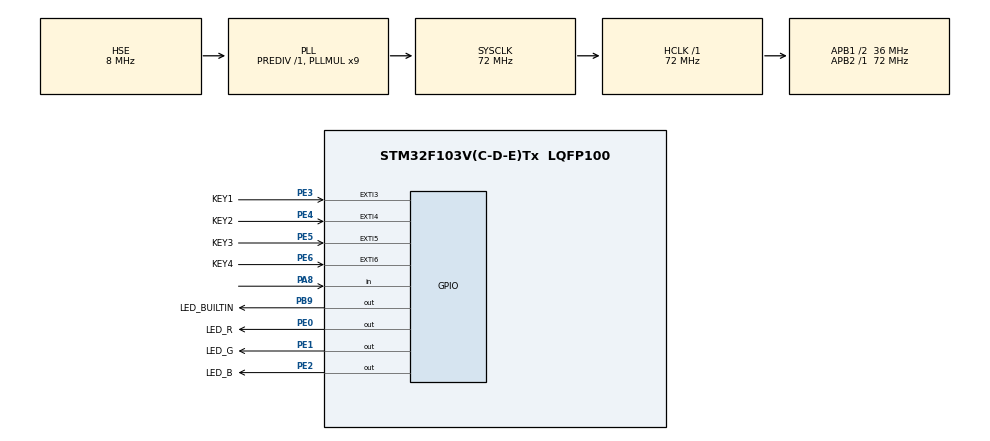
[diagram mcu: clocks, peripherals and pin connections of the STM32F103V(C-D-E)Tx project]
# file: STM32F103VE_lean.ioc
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Mcu.Family=STM32F1
Mcu.Name=STM32F103V(C-D-E)Tx
Mcu.Package=LQFP100
NVIC.PriorityGroup=NVIC_PRIORITYGROUP_4
NVIC.RCC_IRQn=true\:0\:0\:false\:false\:true
OSC_IN.Mode=HSE-External-Oscillator
OSC_IN.Signal=RCC_OSC_IN
OSC_OUT.Mode=HSE-External-Oscillator
OSC_OUT.Signal=RCC_OSC_OUT
PA13.Mode=Serial_Wire
PA13.Signal=SYS_JTMS-SWDIO
PA14.Mode=Serial_Wire
PA14.Signal=SYS_JTCK-SWCLK
PA8.Signal=GPIO_Input
PB9.GPIO_Label=LED_BUILTIN
PB9.GPIO_Speed=GPIO_SPEED_FREQ_MEDIUM
PB9.Signal=GPIO_Output
PC14-OSC32_IN.Mode=LSE-External-Oscillator
PC14-OSC32_IN.Signal=RCC_OSC32_IN
PC15-OSC32_OUT.Mode=LSE-External-Oscillator
PC15-OSC32_OUT.Signal=RCC_OSC32_OUT
PE0.GPIO_Label=LED_R
PE0.GPIO_Speed=GPIO_SPEED_FREQ_MEDIUM
PE0.Signal=GPIO_Output
PE1.GPIO_Label=LED_G
PE1.GPIO_Speed=GPIO_SPEED_FREQ_MEDIUM
PE1.Signal=GPIO_Output
PE2.GPIO_Label=LED_B
PE2.GPIO_Speed=GPIO_SPEED_FREQ_MEDIUM
PE2.Signal=GPIO_Output
PE3.GPIO_Label=KEY1
PE3.GPIO_ModeDefaultEXTI=GPIO_MODE_IT_FALLING
PE3.GPIO_PuPd=GPIO_PULLUP
PE3.Signal=GPXTI3
PE4.GPIO_Label=KEY2
PE4.GPIO_ModeDefaultEXTI=GPIO_MODE_IT_FALLING
PE4.GPIO_PuPd=GPIO_PULLUP
PE4.Signal=GPXTI4
PE5.GPIO_Label=KEY3
PE5.GPIO_ModeDefaultEXTI=GPIO_MODE_IT_FALLING
PE5.GPIO_PuPd=GPIO_PULLUP
PE5.Signal=GPXTI5
PE6.GPIO_Label=KEY4
PE6.GPIO_ModeDefaultEXTI=GPIO_MODE_IT_FALLING
PE6.GPIO_PuPd=GPIO_PULLUP
PE6.Signal=GPXTI6
ProjectManager.HeapSize=0x200
ProjectManager.StackSize=0x400
ProjectManager.TargetToolchain=EWARM
RCC.ADCPresc=RCC_ADCPCLK2_DIV6
RCC.AHBFreq_Value=72000000
RCC.APB1CLKDivider=RCC_HCLK_DIV2
RCC.APB1Freq_Value=36000000
RCC.APB1TimFreq_Value=72000000
RCC.APB2Freq_Value=72000000
RCC.APB2TimCLKDivider=2
RCC.APB2TimFreq_Value=144000000
RCC.EnbaleCSS=true
RCC.HCLKFreq_Value=72000000
RCC.PLLMUL=RCC_PLL_MUL9
RCC.PLLSourceVirtual=RCC_PLLSOURCE_HSE
RCC.SYSCLKFreq_VALUE=72000000
RCC.SYSCLKSource=RCC_SYSCLKSOURCE_PLLCLK
RCC.USBFreq_Value=48000000
RCC.USBPrescaler=RCC_USBCLKSOURCE_PLL_DIV1_5
board=NUCLEO-F103RB

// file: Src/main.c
/**
  ******************************************************************************
  * File Name          : main.c
  * Description        : Main program body
  ******************************************************************************
  ** This notice applies to any and all portions of this file
  * that are not between comment pairs USER CODE BEGIN and
  * USER CODE END. Other portions of this file, whether
  * inserted by the user or by software development tools
  * are owned by their respective copyright owners.
  *
  * COPYRIGHT(c) 2017 STMicroelectronics
  *
  * Redistribution and use in source and binary forms, with or without modification,
  * are permitted provided that the following conditions are met:
  *   1. Redistributions of source code must retain the above copyright notice,
  *      this list of conditions and the following disclaimer.
  *   2. Redistributions in binary form must reproduce the above copyright notice,
  *      this list of conditions and the following disclaimer in the documentation
  *      and/or other materials provided with the distribution.
  *   3. Neither the name of STMicroelectronics nor the names of its contributors
  *      may be used to endorse or promote products derived from this software
  *      without specific prior written permission.
  *
  * THIS SOFTWARE IS PROVIDED BY THE COPYRIGHT HOLDERS AND CONTRIBUTORS "AS IS"
  * AND ANY EXPRESS OR IMPLIED WARRANTIES, INCLUDING, BUT NOT LIMITED TO, THE
  * IMPLIED WARRANTIES OF MERCHANTABILITY AND FITNESS FOR A PARTICULAR PURPOSE ARE
  * DISCLAIMED. IN NO EVENT SHALL THE COPYRIGHT HOLDER OR CONTRIBUTORS BE LIABLE
  * FOR ANY DIRECT, INDIRECT, INCIDENTAL, SPECIAL, EXEMPLARY, OR CONSEQUENTIAL
  * DAMAGES (INCLUDING, BUT NOT LIMITED TO, PROCUREMENT OF SUBSTITUTE GOODS OR
  * SERVICES; LOSS OF USE, DATA, OR PROFITS; OR BUSINESS INTERRUPTION) HOWEVER
  * CAUSED AND ON ANY THEORY OF LIABILITY, WHETHER IN CONTRACT, STRICT LIABILITY,
  * OR TORT (INCLUDING NEGLIGENCE OR OTHERWISE) ARISING IN ANY WAY OUT OF THE USE
  * OF THIS SOFTWARE, EVEN IF ADVISED OF THE POSSIBILITY OF SUCH DAMAGE.
  *
  ******************************************************************************
  */
#include "main.h"
#include "stm32f1xx_hal.h"
#include "gpio.h"

/* USER CODE BEGIN Includes */
#include "diag/Trace.h"
#include <stdint.h>
/* USER CODE END Includes */

/* USER CODE BEGIN PV */
/* Private variables ---------------------------------------------------------*/

/* USER CODE END PV */

void SystemClock_Config(void);

/* USER CODE BEGIN PFP */
/* Private function prototypes -----------------------------------------------*/
/* USER CODE END PFP */

/* USER CODE BEGIN 0 */
#define LED_R(Op) HAL_GPIO_WritePin(LED_R_GPIO_Port, LED_R_Pin, GPIO_PIN_##Op)
#define LED_G(Op) HAL_GPIO_WritePin(LED_G_GPIO_Port,  LED_G_Pin, GPIO_PIN_##Op)
#define LED_B(Op) HAL_GPIO_WritePin(LED_B_GPIO_Port, LED_B_Pin, GPIO_PIN_##Op)
// Define the values of the identifiers
#define LED_B_isON 0x1
#define LED_G_isON 0x2
#define LED_R_isON 0x4
/* USER CODE END 0 */

int main(void)
{

  /* USER CODE BEGIN 1 */
	// Send a greeting to the trace device (skipped on Release).
	trace_puts("Hello ARM World!");

  /* USER CODE END 1 */

  /* MCU Configuration----------------------------------------------------------*/

  /* Reset of all peripherals, Initializes the Flash interface and the Systick. */
  HAL_Init();

  /* Configure the system clock */
  SystemClock_Config();

  /* Initialize all configured peripherals */
  MX_GPIO_Init();

  /* USER CODE BEGIN 2 */
	LED_R(SET);
	LED_G(SET);
	LED_B(SET);
	HAL_GPIO_WritePin(LED_BUILTIN_GPIO_Port, LED_BUILTIN_Pin, GPIO_PIN_RESET); //ON
	HAL_Delay(300);
	LED_R(RESET);
	LED_G(RESET);
	LED_B(RESET); //OFF
	HAL_GPIO_WritePin(LED_BUILTIN_GPIO_Port, LED_BUILTIN_Pin, GPIO_PIN_SET); //OFF

	uint32_t seconds = 0;
	uint8_t ubKeyNumber = 0;
	uint8_t isOn = 0;

	uint32_t Ticks = HAL_GetTick() + 500;
  /* USER CODE END 2 */

  /* Infinite loop */
  while (1)
  {

  /* USER CODE BEGIN 3 */

		// Count seconds on the trace device.
		if (Ticks <= HAL_GetTick()) {
			Ticks = HAL_GetTick() + 500; //1ms interrupt
			if (isOn) {
				isOn = 0;
				HAL_GPIO_WritePin(LED_BUILTIN_GPIO_Port, LED_BUILTIN_Pin, GPIO_PIN_SET);

			} else {
				isOn = 1;
				HAL_GPIO_WritePin(LED_BUILTIN_GPIO_Port, LED_BUILTIN_Pin, GPIO_PIN_RESET);
				seconds++;
				/* Set the data to be tranmitted */
				ubKeyNumber = ++ubKeyNumber % 8;

			}
			if (ubKeyNumber & LED_B_isON) {
				LED_B(SET);
			} else {
				LED_B(RESET);
			}
			if (ubKeyNumber & LED_G_isON) {
				LED_G(SET);
			} else {
				LED_G(RESET);
			}
			if (ubKeyNumber & LED_R_isON) {
				LED_R(SET);
			} else {
				LED_R(RESET);
			}
		}
	}
  /* USER CODE END 3 */

}

/** System Clock Configuration
*/
void SystemClock_Config(void)
{

  RCC_OscInitTypeDef RCC_OscInitStruct;
  RCC_ClkInitTypeDef RCC_ClkInitStruct;

    /**Initializes the CPU, AHB and APB busses clocks
    */
  RCC_OscInitStruct.OscillatorType = RCC_OSCILLATORTYPE_HSE;
  RCC_OscInitStruct.HSEState = RCC_HSE_ON;
  RCC_OscInitStruct.HSEPredivValue = RCC_HSE_PREDIV_DIV1;
  RCC_OscInitStruct.HSIState = RCC_HSI_ON;
  RCC_OscInitStruct.PLL.PLLState = RCC_PLL_ON;
  RCC_OscInitStruct.PLL.PLLSource = RCC_PLLSOURCE_HSE;
  RCC_OscInitStruct.PLL.PLLMUL = RCC_PLL_MUL9;
  if (HAL_RCC_OscConfig(&RCC_OscInitStruct) != HAL_OK)
  {
    _Error_Handler(__FILE__, __LINE__);
  }

    /**Initializes the CPU, AHB and APB busses clocks
    */
  RCC_ClkInitStruct.ClockType = RCC_CLOCKTYPE_HCLK|RCC_CLOCKTYPE_SYSCLK
                              |RCC_CLOCKTYPE_PCLK1|RCC_CLOCKTYPE_PCLK2;
  RCC_ClkInitStruct.SYSCLKSource = RCC_SYSCLKSOURCE_PLLCLK;
  RCC_ClkInitStruct.AHBCLKDivider = RCC_SYSCLK_DIV1;
  RCC_ClkInitStruct.APB1CLKDivider = RCC_HCLK_DIV2;
  RCC_ClkInitStruct.APB2CLKDivider = RCC_HCLK_DIV1;

  if (HAL_RCC_ClockConfig(&RCC_ClkInitStruct, FLASH_LATENCY_2) != HAL_OK)
  {
    _Error_Handler(__FILE__, __LINE__);
  }

    /**Enables the Clock Security System
    */
  HAL_RCC_EnableCSS();

    /**Configure the Systick interrupt time
    */
  HAL_SYSTICK_Config(HAL_RCC_GetHCLKFreq()/1000);

    /**Configure the Systick
    */
  HAL_SYSTICK_CLKSourceConfig(SYSTICK_CLKSOURCE_HCLK);

  /* SysTick_IRQn interrupt configuration */
  HAL_NVIC_SetPriority(SysTick_IRQn, 0, 0);
}

void _Error_Handler(char * file, int line)
{
  /* USER CODE BEGIN Error_Handler_Debug */
  /* User can add his own implementation to report the HAL error return state */
	trace_printf("Error_Handler in File: %s, Line: %d\n", file, line);
//	HAL_Delay(300);
//  while(1)
//  {
//  }
  /* USER CODE END Error_Handler_Debug */
}

#ifdef USE_FULL_ASSERT

/**
   * @brief Reports the name of the source file and the source line number
   * where the assert_param error has occurred.
   * @param file: pointer to the source file name
   * @param line: assert_param error line source number
   * @retval None
   */
void assert_failed(uint8_t* file, uint32_t line)
{
  /* USER CODE BEGIN 6 */
  /* User can add his own implementation to report the file name and line number,
    ex: printf("Wrong parameters value: file %s on line %d\r\n", file, line) */
	trace_printf("Wrong parameters value: file %s on line %d\r\n", file, line);
  /* USER CODE END 6 */

}

#endif

/************************ (C) COPYRIGHT STMicroelectronics *****END OF FILE****/
